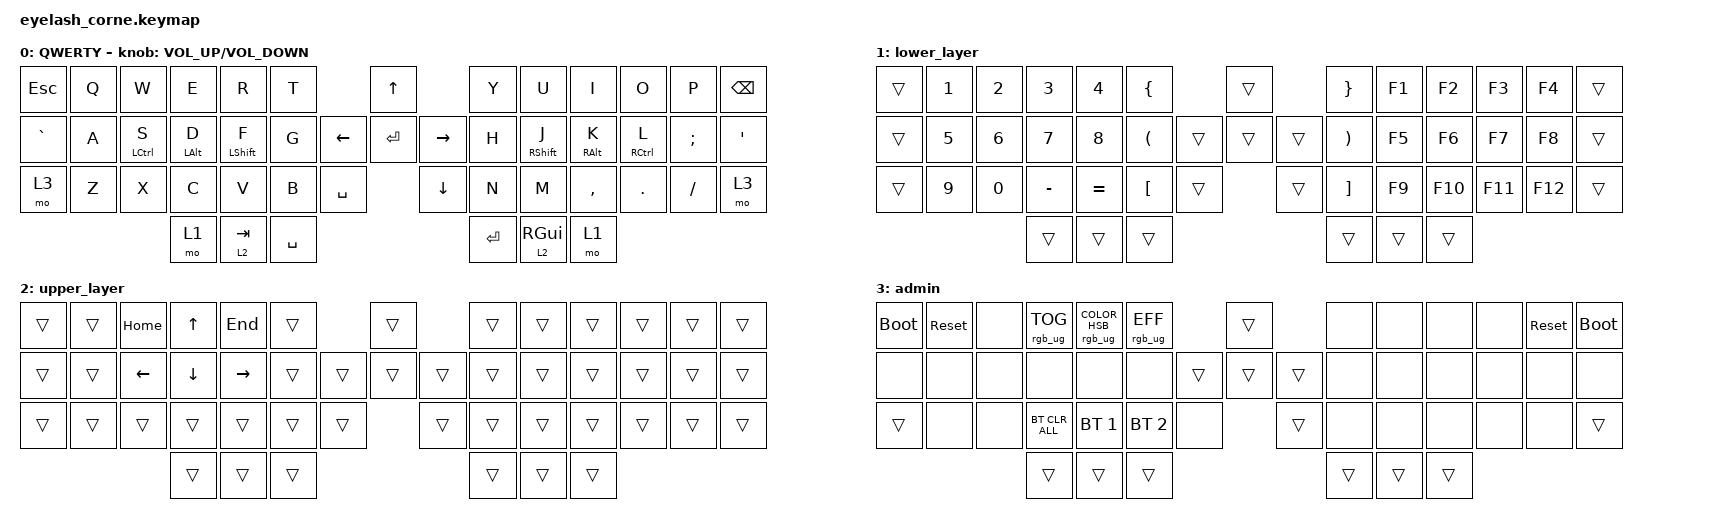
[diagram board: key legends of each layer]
#define ZMK_POINTING_DEFAULT_MOVE_VAL 1200  // 600
#define ZMK_POINTING_DEFAULT_SCRL_VAL 25   // 10

#include <input/processors.dtsi>
#include <zephyr/dt-bindings/input/input-event-codes.h>
#include <behaviors.dtsi>
#include <dt-bindings/zmk/bt.h>
#include <dt-bindings/zmk/keys.h>
#include <dt-bindings/zmk/pointing.h>
#include <dt-bindings/zmk/rgb.h>

&mmv_input_listener { input-processors = <&zip_xy_scaler 2 1>; };

&msc_input_listener { input-processors = <&zip_scroll_scaler 2 1>; };

&msc {
    acceleration-exponent = <1>;      // 0
    time-to-max-speed-ms = <100>;       // 300
    delay-ms = <0>;                   // 0
};

&mmv {
    time-to-max-speed-ms = <400>;
    acceleration-exponent = <1>;
    trigger-period-ms = <16>;
};

&mt {
    flavor = "tap-preferred";
    quick-tap-ms = <125>;
    tapping-term-ms = <500>;
};

/ {
    behaviors {
    };

    rgb_encoder: rgb_encoder {
        compatible = "zmk,behavior-sensor-rotate";
        #sensor-binding-cells = <0>;
        bindings = <&rgb_ug RGB_BRI>, <&rgb_ug RGB_BRD>;
    };

    scroll_encoder: scroll_encoder {
        compatible = "zmk,behavior-sensor-rotate";
        #sensor-binding-cells = <0>;
        bindings = <&msc SCRL_DOWN>, <&msc SCRL_UP>;

        tap-ms = <100>;
    };

    combos { compatible = "zmk,combos"; };

    keymap {
        compatible = "zmk,keymap";

        default_layer {
            display-name = "QWERTY";
            bindings = <
&kp ESCAPE  &kp Q  &kp W               &kp E           &kp R             &kp T                             &kp UP                &kp Y      &kp U              &kp I            &kp O                &kp P          &kp BACKSPACE
&kp GRAVE   &kp A  &mt LEFT_CONTROL S  &mt LEFT_ALT D  &mt LEFT_SHIFT F  &kp G                   &kp LEFT  &kp ENTER  &kp RIGHT  &kp H      &mt RIGHT_SHIFT J  &mt RIGHT_ALT K  &mt RIGHT_CONTROL L  &kp SEMICOLON  &kp SINGLE_QUOTE
&mo 3       &kp Z  &kp X               &kp C           &kp V             &kp B      &kp SPACE              &kp DOWN              &kp N      &kp M              &kp COMMA        &kp DOT              &kp FSLH       &mo 3
                                       &mo 1           &lt 2 TAB         &kp SPACE                                               &kp ENTER  &lt 2 RIGHT_GUI    &mo 1
            >;

            sensor-bindings = <&inc_dec_kp C_VOLUME_UP C_VOLUME_DOWN>;
        };

        lower_layer {
            bindings = <
&trans  &kp N1  &kp N2  &kp N3     &kp N4     &kp LEFT_BRACE                          &trans          &kp RIGHT_BRACE        &kp F1  &kp F2   &kp F3   &kp F4   &trans
&trans  &kp N5  &kp N6  &kp N7     &kp N8     &kp LEFT_PARENTHESIS            &trans  &trans  &trans  &kp RIGHT_PARENTHESIS  &kp F5  &kp F6   &kp F7   &kp F8   &trans
&trans  &kp N9  &kp N0  &kp MINUS  &kp EQUAL  &kp LEFT_BRACKET      &trans            &trans          &kp RIGHT_BRACKET      &kp F9  &kp F10  &kp F11  &kp F12  &trans
                        &trans     &trans     &trans                                                  &trans                 &trans  &trans
            >;
        };

        upper_layer {
            bindings = <
&trans  &trans  &kp HOME  &kp UP    &kp END    &trans                    &trans          &trans  &trans  &trans  &trans  &trans  &trans
&trans  &trans  &kp LEFT  &kp DOWN  &kp RIGHT  &trans            &trans  &trans  &trans  &trans  &trans  &trans  &trans  &trans  &trans
&trans  &trans  &trans    &trans    &trans     &trans  &trans            &trans          &trans  &trans  &trans  &trans  &trans  &trans
                          &trans    &trans     &trans                                    &trans  &trans  &trans
            >;
        };

        admin {
            bindings = <
&bootloader  &sys_reset  &none  &rgb_ug RGB_TOG  &rgb_ug RGB_COLOR_HSB(0,0,100)  &rgb_ug RGB_EFF                   &trans          &none   &none   &none   &none  &sys_reset  &bootloader
&none        &none       &none  &none            &none                           &none                     &trans  &trans  &trans  &none   &none   &none   &none  &none       &none
&trans       &none       &none  &bt BT_CLR_ALL   &bt BT_SEL 1                    &bt BT_SEL 2     &none            &trans          &none   &none   &none   &none  &none       &trans
                                &trans           &trans                          &trans                                            &trans  &trans  &trans
            >;
        };
    };
};
